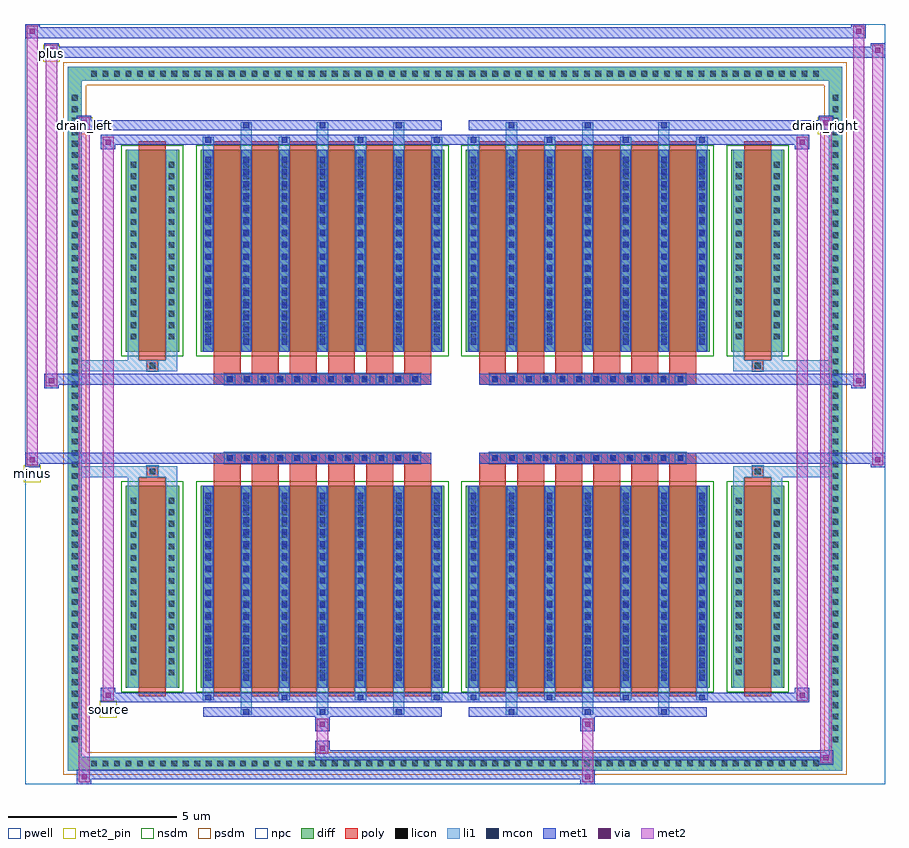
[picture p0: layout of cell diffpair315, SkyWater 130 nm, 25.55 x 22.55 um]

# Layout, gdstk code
import gdstk
lib = gdstk.Library(unit=1e-6, precision=5e-09)
def R(c, l, rs):  # rectangles x0, y0, x1, y1
    for r in rs: c.add(gdstk.rectangle(r[:2], r[2:], *l))
def A(c, l, x, y, w, h, nx, ny, dx, dy):  # array of equal rectangles
    R(c, l, [(x+i*dx, y+j*dy, x+i*dx+w, y+j*dy+h) for i in range(nx) for j in range(ny)])
def P(c, l, *ps):  # polygons
    for p in ps: c.add(gdstk.Polygon(p, *l))
pwell = (64, 44)
diff = (65, 20)
poly = (66, 20)
licon = (66, 44)
li1 = (67, 20)
mcon = (67, 44)
met1 = (68, 20)
via = (68, 44)
met2_pin = (69, 16)
met2 = (69, 20)
nsdm = (93, 44)
psdm = (94, 20)
npc = (95, 20)

diffpair315 = lib.new_cell('diffpair315')
R(diffpair315, pwell, [(-12.76,-10.84,12.76,11.71), (-10.08,-9.03,-0.01,-0.805), (0.01,-9.03,10.08,-0.805), (-10.08,0.805,-0.01,9.03), (0.01,0.805,10.08,9.03)])
A(diffpair315, diff, -10.915, -10.44, 0.41, 0.41, 64, 2, 0.34, 20.47)
A(diffpair315, diff, -11.49, -9.725, 0.41, 0.41, 1, 57, 0, 0.34)
A(diffpair315, diff, 11.08, -9.725, 0.41, 0.41, 1, 57, 0, 0.34)
R(diffpair315, diff, [(-10.915,-10.44,10.915,-10.03), (-11.49,-9.725,-11.08,9.725), (11.08,-9.725,11.49,9.725), (-9.77,-7.985,-8.19,-1.985), (-7.55,-7.985,-0.32,-1.985), (0.32,-7.985,7.55,-1.985), (8.19,-7.985,9.77,-1.985), (-9.77,1.985,-8.19,7.985), (-7.55,1.985,-0.32,7.985), (0.32,1.985,7.55,7.985), (8.19,1.985,9.77,7.985), (-10.915,10.03,10.915,10.44)])
P(diffpair315, diff, [(11.49,10.44),(-11.49,10.44),(-11.49,-10.03),(-11.08,-10.03),(-11.08,10.03),(11.08,10.03),(11.08,-10.03),(-11.08,-10.03),(-11.49,-10.03),(-11.49,-10.44),(11.49,-10.44)])
A(diffpair315, poly, -7.16, -8.235, 0.8, 6.5, 6, 2, 1.13, 9.97)
A(diffpair315, poly, 0.71, -8.235, 0.8, 6.5, 6, 2, 1.13, 9.97)
A(diffpair315, poly, -7.16, -1.735, 0.8, 0.4, 6, 2, 1.13, 3.07)
A(diffpair315, poly, 0.71, -1.735, 0.8, 0.4, 6, 2, 1.13, 3.07)
A(diffpair315, poly, -6.85, -1.335, 0.33, 0.33, 12, 2, 0.5, 2.34)
A(diffpair315, poly, 1.02, -1.335, 0.33, 0.33, 12, 2, 0.5, 2.34)
R(diffpair315, poly, [(-9.38,-8.235,-8.58,-1.735), (8.58,-8.235,9.38,-1.735), (-9.145,-1.735,-8.815,-1.405), (-9.145,-1.735,-8.815,-1.405), (8.815,-1.735,9.145,-1.405), (8.815,-1.735,9.145,-1.405), (-7.16,-1.335,-0.71,-1.005), (0.71,-1.335,7.16,-1.005), (-7.16,1.005,-0.71,1.335), (0.71,1.005,7.16,1.335), (-9.145,1.405,-8.815,1.735), (-9.145,1.405,-8.815,1.735), (8.815,1.405,9.145,1.735), (8.815,1.405,9.145,1.735), (-9.38,1.735,-8.58,8.235), (8.58,1.735,9.38,8.235)])
A(diffpair315, licon, -10.795, -10.32, 0.17, 0.17, 64, 2, 0.34, 20.47)
A(diffpair315, licon, -11.37, -9.605, 0.17, 0.17, 1, 57, 0, 0.34)
A(diffpair315, licon, 11.2, -9.605, 0.17, 0.17, 1, 57, 0, 0.34)
A(diffpair315, licon, -9.63, -7.62, 0.17, 0.17, 1, 16, 0, 0.34)
A(diffpair315, licon, -8.5, -7.62, 0.17, 0.17, 1, 16, 0, 0.34)
A(diffpair315, licon, -7.41, -7.62, 0.17, 0.17, 7, 16, 1.13, 0.34)
A(diffpair315, licon, 0.46, -7.62, 0.17, 0.17, 7, 16, 1.13, 0.34)
A(diffpair315, licon, 8.33, -7.62, 0.17, 0.17, 1, 16, 0, 0.34)
A(diffpair315, licon, 9.46, -7.62, 0.17, 0.17, 1, 16, 0, 0.34)
A(diffpair315, licon, -6.77, -1.255, 0.17, 0.17, 12, 2, 0.5, 2.34)
A(diffpair315, licon, 1.1, -1.255, 0.17, 0.17, 12, 2, 0.5, 2.34)
A(diffpair315, licon, -9.63, 2.35, 0.17, 0.17, 1, 16, 0, 0.34)
A(diffpair315, licon, -8.5, 2.35, 0.17, 0.17, 1, 16, 0, 0.34)
A(diffpair315, licon, -7.41, 2.35, 0.17, 0.17, 7, 16, 1.13, 0.34)
A(diffpair315, licon, 0.46, 2.35, 0.17, 0.17, 7, 16, 1.13, 0.34)
A(diffpair315, licon, 8.33, 2.35, 0.17, 0.17, 1, 16, 0, 0.34)
A(diffpair315, licon, 9.46, 2.35, 0.17, 0.17, 1, 16, 0, 0.34)
R(diffpair315, licon, [(-9.065,-1.655,-8.895,-1.485), (8.895,-1.655,9.065,-1.485), (-9.065,1.485,-8.895,1.655), (8.895,1.485,9.065,1.655)])
A(diffpair315, li1, -10.875, -10.4, 0.33, 0.33, 64, 2, 0.34, 20.47)
A(diffpair315, li1, -11.45, -9.685, 0.33, 0.33, 1, 57, 0, 0.34)
A(diffpair315, li1, 11.12, -9.685, 0.33, 0.33, 1, 57, 0, 0.34)
A(diffpair315, li1, -6.36, -8.79, 0.33, 0.805, 3, 2, 2.26, 16.775)
A(diffpair315, li1, -6.28, -8.79, 0.17, 0.17, 3, 2, 2.26, 17.41)
A(diffpair315, li1, 1.51, -8.79, 0.33, 0.805, 3, 2, 2.26, 16.775)
A(diffpair315, li1, 1.59, -8.79, 0.17, 0.17, 3, 2, 2.26, 17.41)
A(diffpair315, li1, -7.49, -8.36, 0.33, 0.375, 4, 2, 2.26, 16.345)
A(diffpair315, li1, -7.41, -8.36, 0.17, 0.17, 4, 2, 2.26, 16.55)
A(diffpair315, li1, 0.38, -8.36, 0.33, 0.375, 4, 2, 2.26, 16.345)
A(diffpair315, li1, 0.46, -8.36, 0.17, 0.17, 4, 2, 2.26, 16.55)
A(diffpair315, li1, -7.49, -7.985, 0.33, 6, 7, 2, 1.13, 9.97)
A(diffpair315, li1, 0.38, -7.985, 0.33, 6, 7, 2, 1.13, 9.97)
A(diffpair315, li1, -7.41, -7.77, 0.17, 0.17, 7, 16, 1.13, 0.36)
A(diffpair315, li1, -7.41, -7.77, 0.17, 5.57, 7, 2, 1.13, 9.97)
A(diffpair315, li1, 0.46, -7.77, 0.17, 0.17, 7, 16, 1.13, 0.36)
A(diffpair315, li1, 0.46, -7.77, 0.17, 5.57, 7, 2, 1.13, 9.97)
A(diffpair315, li1, -9.71, -7.7, 0.33, 0.33, 1, 16, 0, 0.34)
A(diffpair315, li1, -8.58, -7.7, 0.33, 0.33, 1, 16, 0, 0.34)
A(diffpair315, li1, -7.49, -7.7, 0.33, 0.33, 7, 16, 1.13, 0.34)
A(diffpair315, li1, 0.38, -7.7, 0.33, 0.33, 7, 16, 1.13, 0.34)
A(diffpair315, li1, 8.25, -7.7, 0.33, 0.33, 1, 16, 0, 0.34)
A(diffpair315, li1, 9.38, -7.7, 0.33, 0.33, 1, 16, 0, 0.34)
A(diffpair315, li1, -6.85, -1.335, 0.33, 0.33, 12, 2, 0.5, 2.34)
A(diffpair315, li1, 1.02, -1.335, 0.33, 0.33, 12, 2, 0.5, 2.34)
A(diffpair315, li1, -7.41, 2.2, 0.17, 0.17, 7, 16, 1.13, 0.36)
A(diffpair315, li1, 0.46, 2.2, 0.17, 0.17, 7, 16, 1.13, 0.36)
A(diffpair315, li1, -9.71, 2.27, 0.33, 0.33, 1, 16, 0, 0.34)
A(diffpair315, li1, -8.58, 2.27, 0.33, 0.33, 1, 16, 0, 0.34)
A(diffpair315, li1, -7.49, 2.27, 0.33, 0.33, 7, 16, 1.13, 0.34)
A(diffpair315, li1, 0.38, 2.27, 0.33, 0.33, 7, 16, 1.13, 0.34)
A(diffpair315, li1, 8.25, 2.27, 0.33, 0.33, 1, 16, 0, 0.34)
A(diffpair315, li1, 9.38, 2.27, 0.33, 0.33, 1, 16, 0, 0.34)
R(diffpair315, li1, [(-11.49,-10.44,-11.08,-10.03), (-11.49,-10.44,-11.08,-10.03), (-11.08,-10.44,11.08,-10.03), (11.08,-10.44,11.49,-10.03), (11.08,-10.44,11.49,-10.03), (-11.49,-10.03,-11.08,10.03), (11.08,-10.03,11.49,10.03), (-9.71,-7.985,-9.38,-1.985), (-8.58,-7.985,-8.25,-1.985), (8.25,-7.985,8.58,-1.985), (9.38,-7.985,9.71,-1.985), (-9.71,-1.985,-9.38,-1.405), (-8.58,-1.985,-8.25,-1.405), (8.25,-1.985,8.58,-1.405), (9.38,-1.985,9.71,-1.405), (-11.49,-1.735,-9.145,-1.405), (-9.71,-1.735,-9.145,-1.405), (-9.145,-1.735,-8.815,-1.405), (-8.815,-1.735,-8.25,-1.405), (8.25,-1.735,8.815,-1.405), (8.815,-1.735,9.145,-1.405), (8.815,-1.735,11.49,-1.405), (9.145,-1.735,9.71,-1.405), (-11.49,1.405,-9.145,1.735), (-9.71,1.405,-9.145,1.735), (-9.71,1.405,-9.38,1.985), (-9.145,1.405,-8.815,1.735), (-8.815,1.405,-8.25,1.735), (-8.58,1.405,-8.25,1.985), (8.25,1.405,8.815,1.735), (8.25,1.405,8.58,1.985), (8.815,1.405,9.145,1.735), (8.815,1.405,11.49,1.735), (9.145,1.405,9.71,1.735), (9.38,1.405,9.71,1.985), (-9.71,1.985,-9.38,7.985), (-8.58,1.985,-8.25,7.985), (8.25,1.985,8.58,7.985), (9.38,1.985,9.71,7.985), (-11.49,10.03,-11.08,10.44), (-11.49,10.03,-11.08,10.44), (-11.08,10.03,11.08,10.44), (11.08,10.03,11.49,10.44), (11.08,10.03,11.49,10.44)])
A(diffpair315, mcon, -6.28, -8.79, 0.17, 0.17, 3, 2, 2.26, 17.41)
A(diffpair315, mcon, 1.59, -8.79, 0.17, 0.17, 3, 2, 2.26, 17.41)
A(diffpair315, mcon, -7.41, -8.36, 0.17, 0.17, 4, 2, 2.26, 16.55)
A(diffpair315, mcon, 0.46, -8.36, 0.17, 0.17, 4, 2, 2.26, 16.55)
A(diffpair315, mcon, -7.41, -7.77, 0.17, 0.17, 7, 16, 1.13, 0.36)
A(diffpair315, mcon, 0.46, -7.77, 0.17, 0.17, 7, 16, 1.13, 0.36)
A(diffpair315, mcon, -6.77, -1.255, 0.17, 0.17, 12, 2, 0.5, 2.34)
A(diffpair315, mcon, 1.1, -1.255, 0.17, 0.17, 12, 2, 0.5, 2.34)
A(diffpair315, mcon, -7.41, 2.2, 0.17, 0.17, 7, 16, 1.13, 0.36)
A(diffpair315, mcon, 0.46, 2.2, 0.17, 0.17, 7, 16, 1.13, 0.36)
A(diffpair315, met1, -6.34, -8.85, 0.29, 0.29, 3, 2, 2.26, 17.41)
A(diffpair315, met1, 1.53, -8.85, 0.29, 0.29, 3, 2, 2.26, 17.41)
A(diffpair315, met1, -7.47, -8.42, 0.29, 0.29, 4, 2, 2.26, 16.55)
A(diffpair315, met1, 0.4, -8.42, 0.29, 0.29, 4, 2, 2.26, 16.55)
A(diffpair315, met1, -7.47, -7.985, 0.29, 6, 7, 2, 1.13, 9.97)
A(diffpair315, met1, 0.4, -7.985, 0.29, 6, 7, 2, 1.13, 9.97)
A(diffpair315, met1, -7.47, -7.83, 0.29, 0.29, 7, 16, 1.13, 0.36)
A(diffpair315, met1, 0.4, -7.83, 0.29, 0.29, 7, 16, 1.13, 0.36)
A(diffpair315, met1, -6.83, -1.315, 0.29, 0.29, 12, 2, 0.5, 2.34)
A(diffpair315, met1, 1.04, -1.315, 0.29, 0.29, 12, 2, 0.5, 2.34)
A(diffpair315, met1, -7.47, 2.14, 0.29, 0.29, 7, 16, 1.13, 0.36)
A(diffpair315, met1, 0.4, 2.14, 0.29, 0.29, 7, 16, 1.13, 0.36)
R(diffpair315, met1, [(-11.22,-10.84,-10.79,-10.41), (3.72,-10.84,4.15,-10.41), (-11.22,-10.7,4.15,-10.41), (10.79,-10.27,11.22,-9.84), (-4.15,-10.13,11.22,-9.84), (-4.15,-9.99,-3.72,-9.56), (-4.15,-9.28,-3.72,-8.85), (3.72,-9.28,4.15,-8.85), (-7.47,-8.85,-0.4,-8.56), (0.4,-8.85,7.47,-8.56), (-10.51,-8.42,-10.08,-7.99), (-10.51,-8.42,-7.47,-8.13), (-7.47,-8.42,-0.4,-8.13), (-0.4,-8.42,0.4,-8.13), (0.4,-8.42,7.47,-8.13), (7.47,-8.42,10.51,-8.13), (10.08,-8.42,10.51,-7.99), (-12.76,-1.435,-12.33,-1.005), (12.33,-1.435,12.76,-1.005), (-12.76,-1.335,-0.71,-1.005), (-7.16,-1.335,-0.71,-1.005), (0.71,-1.335,7.16,-1.005), (0.71,-1.335,12.76,-1.005), (-12.19,0.905,-11.76,1.335), (11.76,0.905,12.19,1.335), (-12.19,1.005,-7.16,1.335), (-7.16,1.005,-0.71,1.335), (0.71,1.005,7.16,1.335), (7.16,1.005,12.19,1.335), (-10.51,7.99,-10.08,8.42), (10.08,7.99,10.51,8.42), (-10.51,8.13,-7.47,8.42), (-7.47,8.13,-0.4,8.42), (-0.4,8.13,0.4,8.42), (0.4,8.13,7.47,8.42), (7.47,8.13,10.51,8.42), (-11.22,8.56,-10.79,8.99), (-11.22,8.56,-7.47,8.85), (-7.47,8.56,-0.4,8.85), (0.4,8.56,7.47,8.85), (7.47,8.56,11.22,8.85), (10.79,8.56,11.22,8.99), (-12.19,10.71,-11.76,11.14), (-12.19,10.71,-10.08,11.04), (-10.08,10.71,10.08,11.04), (10.08,10.71,12.76,11.04), (12.33,10.71,12.76,11.14), (-12.76,11.28,-12.33,11.71), (-12.76,11.28,-10.08,11.61), (-10.08,11.28,10.08,11.61), (10.08,11.28,12.19,11.61), (11.76,11.28,12.19,11.71)])
R(diffpair315, via, [(-11.08,-10.7,-10.93,-10.55), (3.86,-10.7,4.01,-10.55), (10.93,-10.13,11.08,-9.98), (-4.01,-9.85,-3.86,-9.7), (-4.01,-9.14,-3.86,-8.99), (3.86,-9.14,4.01,-8.99), (-10.37,-8.28,-10.22,-8.13), (10.22,-8.28,10.37,-8.13), (-12.62,-1.295,-12.47,-1.145), (12.47,-1.295,12.62,-1.145), (-12.05,1.045,-11.9,1.195), (11.9,1.045,12.05,1.195), (-10.37,8.13,-10.22,8.28), (10.22,8.13,10.37,8.28), (-11.08,8.7,-10.93,8.85), (10.93,8.7,11.08,8.85), (-12.05,10.85,-11.9,11), (12.47,10.85,12.62,11), (-12.62,11.42,-12.47,11.57), (11.9,11.42,12.05,11.57)])
R(diffpair315, met2_pin, [(-10.545,-8.87,-10.045,-8.37), (-12.795,-1.885,-12.295,-1.385), (-11.255,8.44,-10.755,8.94), (10.755,8.44,11.255,8.94), (-12.225,10.59,-11.725,11.09)])
R(diffpair315, met2, [(-11.17,-10.79,-10.84,-10.46), (-11.17,-10.79,-10.84,8.94), (3.77,-10.79,4.1,-10.46), (3.77,-10.46,4.1,-9.23), (10.84,-10.22,11.17,-9.89), (10.84,-10.22,11.17,8.94), (-4.1,-9.94,-3.77,-9.61), (-4.1,-9.61,-3.77,-9.23), (-4.1,-9.23,-3.77,-8.9), (3.77,-9.23,4.1,-8.9), (-10.46,-8.37,-10.13,-8.04), (-10.46,-8.37,-10.13,8.37), (10.13,-8.37,10.46,-8.04), (10.13,-8.37,10.46,8.37), (-12.71,-1.385,-12.38,-1.055), (-12.71,-1.385,-12.38,11.66), (12.38,-1.385,12.71,-1.055), (12.38,-1.385,12.71,11.09), (-12.14,0.955,-11.81,1.285), (-12.14,0.955,-11.81,11.09), (11.81,0.955,12.14,1.285), (11.81,0.955,12.14,11.66), (-10.46,8.04,-10.13,8.37), (10.13,8.04,10.46,8.37), (-11.17,8.61,-10.84,8.94), (10.84,8.61,11.17,8.94), (-12.14,10.76,-11.81,11.09), (12.38,10.76,12.71,11.09), (-12.71,11.33,-12.38,11.66), (11.81,11.33,12.14,11.66)])
P(diffpair315, met2, [(12.71,-1.385),(12.71,-1.385),(12.71,-1.055),(12.71,-1.055)],
  [(12.71,10.76),(12.71,10.76),(12.71,11.09),(12.71,11.09)],
  [(-12.38,-1.385),(-12.38,-1.385),(-12.38,-1.055),(-12.38,-1.055)],
  [(-12.38,11.33),(-12.38,11.33),(-12.38,11.66),(-12.38,11.66)],
  [(12.14,0.955),(12.14,0.955),(12.14,1.285),(12.14,1.285)],
  [(12.14,11.33),(12.14,11.33),(12.14,11.66),(12.14,11.66)],
  [(-11.81,0.955),(-11.81,0.955),(-11.81,1.285),(-11.81,1.285)],
  [(-11.81,10.76),(-11.81,10.76),(-11.81,11.09),(-11.81,11.09)],
  [(-10.84,-10.79),(-10.84,-10.79),(-10.84,-10.46),(-10.84,-10.46)],
  [(-10.84,8.61),(-10.84,8.61),(-10.84,8.94),(-10.84,8.94)],
  [(11.17,-10.22),(11.17,-10.22),(11.17,-9.89),(11.17,-9.89)],
  [(11.17,8.61),(11.17,8.61),(11.17,8.94),(11.17,8.94)],
  [(-10.13,-8.37),(-10.13,-8.37),(-10.13,-8.04),(-10.13,-8.04)],
  [(-10.13,8.04),(-10.13,8.04),(-10.13,8.37),(-10.13,8.37)],
  [(10.46,-8.37),(10.46,-8.37),(10.46,-8.04),(10.46,-8.04)],
  [(10.46,8.04),(10.46,8.04),(10.46,8.37),(10.46,8.37)])
R(diffpair315, nsdm, [(-9.9,-8.115,-8.06,-1.855), (-7.68,-8.115,-0.19,-1.855), (0.19,-8.115,7.68,-1.855), (8.06,-8.115,9.9,-1.855), (-9.9,1.855,-8.06,8.115), (-7.68,1.855,-0.19,8.115), (0.19,1.855,7.68,8.115), (8.06,1.855,9.9,8.115)])
P(diffpair315, psdm, [(11.62,10.57),(-11.62,10.57),(-11.62,-9.9),(-10.95,-9.9),(-10.95,9.9),(10.95,9.9),(10.95,-9.9),(-10.95,-9.9),(-11.62,-9.9),(-11.62,-10.57),(11.62,-10.57)])
A(diffpair315, npc, -6.87, -1.355, 0.37, 0.37, 12, 2, 0.5, 2.34)
A(diffpair315, npc, 1, -1.355, 0.37, 0.37, 12, 2, 0.5, 2.34)
R(diffpair315, npc, [(-9.165,-1.755,-8.795,-1.385), (8.795,-1.755,9.165,-1.385), (-6.87,-1.355,-6,-0.985), (-6.87,-1.355,-6,-0.985), (-6.37,-1.355,-5.5,-0.985), (-6.37,-1.355,-5.5,-0.985), (-5.87,-1.355,-5,-0.985), (-5.87,-1.355,-5,-0.985), (-5.37,-1.355,-4.5,-0.985), (-5.37,-1.355,-4.5,-0.985), (-4.87,-1.355,-4,-0.985), (-4.87,-1.355,-4,-0.985), (-4.37,-1.355,-3.5,-0.985), (-4.37,-1.355,-3.5,-0.985), (-3.87,-1.355,-3,-0.985), (-3.87,-1.355,-3,-0.985), (-3.37,-1.355,-2.5,-0.985), (-3.37,-1.355,-2.5,-0.985), (-2.87,-1.355,-2,-0.985), (-2.87,-1.355,-2,-0.985), (-2.37,-1.355,-1.5,-0.985), (-2.37,-1.355,-1.5,-0.985), (-1.87,-1.355,-1,-0.985), (-1.87,-1.355,-1,-0.985), (1,-1.355,1.87,-0.985), (1,-1.355,1.87,-0.985), (1.5,-1.355,2.37,-0.985), (1.5,-1.355,2.37,-0.985), (2,-1.355,2.87,-0.985), (2,-1.355,2.87,-0.985), (2.5,-1.355,3.37,-0.985), (2.5,-1.355,3.37,-0.985), (3,-1.355,3.87,-0.985), (3,-1.355,3.87,-0.985), (3.5,-1.355,4.37,-0.985), (3.5,-1.355,4.37,-0.985), (4,-1.355,4.87,-0.985), (4,-1.355,4.87,-0.985), (4.5,-1.355,5.37,-0.985), (4.5,-1.355,5.37,-0.985), (5,-1.355,5.87,-0.985), (5,-1.355,5.87,-0.985), (5.5,-1.355,6.37,-0.985), (5.5,-1.355,6.37,-0.985), (6,-1.355,6.87,-0.985), (6,-1.355,6.87,-0.985), (-6.87,0.985,-6,1.355), (-6.87,0.985,-6,1.355), (-6.37,0.985,-5.5,1.355), (-6.37,0.985,-5.5,1.355), (-5.87,0.985,-5,1.355), (-5.87,0.985,-5,1.355), (-5.37,0.985,-4.5,1.355), (-5.37,0.985,-4.5,1.355), (-4.87,0.985,-4,1.355), (-4.87,0.985,-4,1.355), (-4.37,0.985,-3.5,1.355), (-4.37,0.985,-3.5,1.355), (-3.87,0.985,-3,1.355), (-3.87,0.985,-3,1.355), (-3.37,0.985,-2.5,1.355), (-3.37,0.985,-2.5,1.355), (-2.87,0.985,-2,1.355), (-2.87,0.985,-2,1.355), (-2.37,0.985,-1.5,1.355), (-2.37,0.985,-1.5,1.355), (-1.87,0.985,-1,1.355), (-1.87,0.985,-1,1.355), (1,0.985,1.87,1.355), (1,0.985,1.87,1.355), (1.5,0.985,2.37,1.355), (1.5,0.985,2.37,1.355), (2,0.985,2.87,1.355), (2,0.985,2.87,1.355), (2.5,0.985,3.37,1.355), (2.5,0.985,3.37,1.355), (3,0.985,3.87,1.355), (3,0.985,3.87,1.355), (3.5,0.985,4.37,1.355), (3.5,0.985,4.37,1.355), (4,0.985,4.87,1.355), (4,0.985,4.87,1.355), (4.5,0.985,5.37,1.355), (4.5,0.985,5.37,1.355), (5,0.985,5.87,1.355), (5,0.985,5.87,1.355), (5.5,0.985,6.37,1.355), (5.5,0.985,6.37,1.355), (6,0.985,6.87,1.355), (6,0.985,6.87,1.355), (-9.165,1.385,-8.795,1.755), (8.795,1.385,9.165,1.755)])
diffpair315.add(gdstk.Label('minus', (-12.545,-1.635), layer=69, texttype=5))
diffpair315.add(gdstk.Label('drain_right', (11.005,8.69), layer=69, texttype=5))
diffpair315.add(gdstk.Label('drain_left', (-11.005,8.69), layer=69, texttype=5))
diffpair315.add(gdstk.Label('source', (-10.295,-8.62), layer=69, texttype=5))
diffpair315.add(gdstk.Label('plus', (-11.975,10.84), layer=69, texttype=5))

lib.write_gds('diffpair315.gds')
